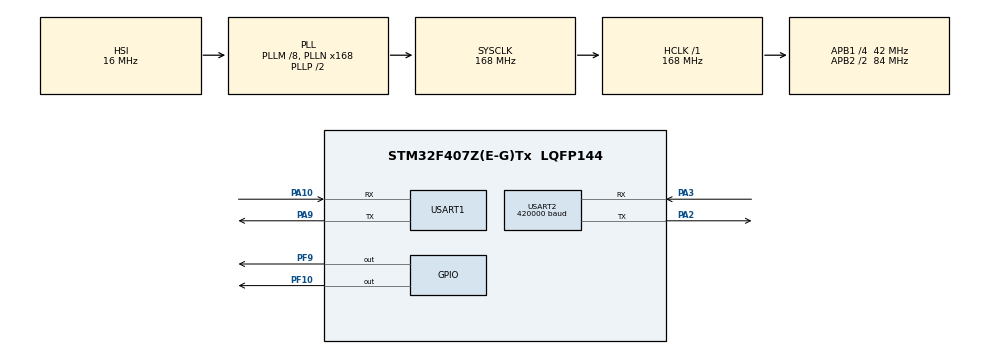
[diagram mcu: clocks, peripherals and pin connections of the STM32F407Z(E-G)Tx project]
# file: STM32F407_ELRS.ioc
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Dma.Request0=USART1_RX
Dma.Request1=USART1_TX
Dma.Request2=USART2_RX
Dma.Request3=USART2_TX
Dma.USART1_RX.0.Direction=DMA_PERIPH_TO_MEMORY
Dma.USART1_RX.0.FIFOMode=DMA_FIFOMODE_DISABLE
Dma.USART1_RX.0.Instance=DMA2_Stream2
Dma.USART1_RX.0.MemDataAlignment=DMA_MDATAALIGN_BYTE
Dma.USART1_RX.0.MemInc=DMA_MINC_ENABLE
Dma.USART1_RX.0.Mode=DMA_NORMAL
Dma.USART1_RX.0.PeriphDataAlignment=DMA_PDATAALIGN_BYTE
Dma.USART1_RX.0.PeriphInc=DMA_PINC_DISABLE
Dma.USART1_RX.0.Priority=DMA_PRIORITY_LOW
Dma.USART1_TX.1.Direction=DMA_MEMORY_TO_PERIPH
Dma.USART1_TX.1.FIFOMode=DMA_FIFOMODE_DISABLE
Dma.USART1_TX.1.Instance=DMA2_Stream7
Dma.USART1_TX.1.MemDataAlignment=DMA_MDATAALIGN_BYTE
Dma.USART1_TX.1.MemInc=DMA_MINC_ENABLE
Dma.USART1_TX.1.Mode=DMA_NORMAL
Dma.USART1_TX.1.PeriphDataAlignment=DMA_PDATAALIGN_BYTE
Dma.USART1_TX.1.PeriphInc=DMA_PINC_DISABLE
Dma.USART1_TX.1.Priority=DMA_PRIORITY_LOW
Dma.USART2_RX.2.Direction=DMA_PERIPH_TO_MEMORY
Dma.USART2_RX.2.FIFOMode=DMA_FIFOMODE_DISABLE
Dma.USART2_RX.2.Instance=DMA1_Stream5
Dma.USART2_RX.2.MemDataAlignment=DMA_MDATAALIGN_BYTE
Dma.USART2_RX.2.MemInc=DMA_MINC_ENABLE
Dma.USART2_RX.2.Mode=DMA_NORMAL
Dma.USART2_RX.2.PeriphDataAlignment=DMA_PDATAALIGN_BYTE
Dma.USART2_RX.2.PeriphInc=DMA_PINC_DISABLE
Dma.USART2_RX.2.Priority=DMA_PRIORITY_LOW
Dma.USART2_TX.3.Direction=DMA_MEMORY_TO_PERIPH
Dma.USART2_TX.3.FIFOMode=DMA_FIFOMODE_DISABLE
Dma.USART2_TX.3.Instance=DMA1_Stream6
Dma.USART2_TX.3.MemDataAlignment=DMA_MDATAALIGN_BYTE
Dma.USART2_TX.3.MemInc=DMA_MINC_ENABLE
Dma.USART2_TX.3.Mode=DMA_NORMAL
Dma.USART2_TX.3.PeriphDataAlignment=DMA_PDATAALIGN_BYTE
Dma.USART2_TX.3.PeriphInc=DMA_PINC_DISABLE
Dma.USART2_TX.3.Priority=DMA_PRIORITY_LOW
Mcu.Family=STM32F4
Mcu.Name=STM32F407Z(E-G)Tx
Mcu.Package=LQFP144
NVIC.DMA1_Stream5_IRQn=true\:0\:0\:false\:false\:true\:false\:true\:true
NVIC.DMA1_Stream6_IRQn=true\:0\:0\:false\:false\:true\:false\:true\:true
NVIC.DMA2_Stream2_IRQn=true\:0\:0\:false\:false\:true\:false\:true\:true
NVIC.DMA2_Stream7_IRQn=true\:0\:0\:false\:false\:true\:false\:true\:true
NVIC.PriorityGroup=NVIC_PRIORITYGROUP_4
NVIC.USART1_IRQn=true\:0\:0\:false\:false\:true\:true\:true\:true
NVIC.USART2_IRQn=true\:0\:0\:false\:false\:true\:false\:true\:true
PA10.Mode=Asynchronous
PA10.Signal=USART1_RX
PA13.Mode=Serial_Wire
PA13.Signal=SYS_JTMS-SWDIO
PA14.Mode=Serial_Wire
PA14.Signal=SYS_JTCK-SWCLK
PA2.Mode=Asynchronous
PA2.Signal=USART2_TX
PA3.Mode=Asynchronous
PA3.Signal=USART2_RX
PA9.Mode=Asynchronous
PA9.Signal=USART1_TX
PF10.Signal=GPIO_Output
PF9.Signal=GPIO_Output
PH0-OSC_IN.Mode=HSE-External-Oscillator
PH0-OSC_IN.Signal=RCC_OSC_IN
PH1-OSC_OUT.Mode=HSE-External-Oscillator
PH1-OSC_OUT.Signal=RCC_OSC_OUT
ProjectManager.HeapSize=0x200
ProjectManager.StackSize=0x400
ProjectManager.TargetToolchain=MDK-ARM V5.32
RCC.48MHZClocksFreq_Value=84000000
RCC.AHBFreq_Value=168000000
RCC.APB1CLKDivider=RCC_HCLK_DIV4
RCC.APB1Freq_Value=42000000
RCC.APB1TimFreq_Value=84000000
RCC.APB2CLKDivider=RCC_HCLK_DIV2
RCC.APB2Freq_Value=84000000
RCC.APB2TimFreq_Value=168000000
RCC.CortexFreq_Value=168000000
RCC.HCLKFreq_Value=168000000
RCC.HSE_VALUE=25000000
RCC.HSI_VALUE=16000000
RCC.PLLM=8
RCC.PLLN=168
RCC.SYSCLKFreq_VALUE=168000000
RCC.SYSCLKSource=RCC_SYSCLKSOURCE_PLLCLK
RCC.VCOOutputFreq_Value=336000000
USART1.VirtualMode=VM_ASYNC
USART2.BaudRate=420000
USART2.VirtualMode=VM_ASYNC
board=custom

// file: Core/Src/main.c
/* USER CODE BEGIN Header */
/**
 ******************************************************************************
 * @file           : main.c
 * @brief          : Main program body
 ******************************************************************************
 * @attention
 *
 * Copyright (c) 2024 STMicroelectronics.
 * All rights reserved.
 *
 * This software is licensed under terms that can be found in the LICENSE file
 * in the root directory of this software component.
 * If no LICENSE file comes with this software, it is provided AS-IS.
 *
 ******************************************************************************
 */
/* USER CODE END Header */
#include "main.h"
#include "dma.h"
#include "usart.h"
#include "gpio.h"

/* USER CODE BEGIN Includes */
#include "elrs.h"
/* USER CODE END Includes */

/* USER CODE BEGIN PM */
// 硬件串口重定向函�?
int fputc(int ch, FILE *f)
{
  HAL_UART_Transmit(&huart1, (uint8_t *)&ch, 1, HAL_MAX_DELAY);
  // HAL_UART_Transmit_DMA(&huart1, (uint8_t *)&ch, 1);
  return ch;
}

uint8_t Rx_data[200] = {0};
char received_string[256];
extern DMA_HandleTypeDef hdma_usart1_rx;
void HAL_UARTEx_RxEventCallback(UART_HandleTypeDef *huart, uint16_t Size)
{
  if (huart == &huart1)
  {
    strcpy(received_string, (char *)Rx_data);
    fprintf(stdout, "%s\r\n", received_string);
    memset(Rx_data, 0, sizeof(Rx_data));
    HAL_UARTEx_ReceiveToIdle_DMA(huart, Rx_data, sizeof(Rx_data) - 1);
    __HAL_DMA_DISABLE_IT(&hdma_usart1_rx, DMA_IT_HT);
  }
  else if (huart == &huart2)
  {
    ELRS_UARTE_RxCallback(Size);
    // HAL_GPIO_TogglePin(GPIOF, GPIO_PIN_10);
  }
}
/* USER CODE END PM */

/* USER CODE BEGIN PV */
extern ELRS_Data elrs_data;

/* USER CODE END PV */

void SystemClock_Config(void);

int main(void)
{

  /* MCU Configuration--------------------------------------------------------*/

  /* Reset of all peripherals, Initializes the Flash interface and the Systick. */
  HAL_Init();

  /* Configure the system clock */
  SystemClock_Config();

  /* Initialize all configured peripherals */
  MX_GPIO_Init();
  MX_DMA_Init();
  MX_USART1_UART_Init();
  MX_USART2_UART_Init();
  /* USER CODE BEGIN 2 */
  HAL_UARTEx_ReceiveToIdle_DMA(&huart1, Rx_data, 200 - 1);
  __HAL_DMA_DISABLE_IT(&hdma_usart1_rx, DMA_IT_HT);
  ELRS_Init();
  /* USER CODE END 2 */

  /* Infinite loop */
  while (1)
  {

    /* USER CODE BEGIN 3 */
    printf("L_X=%.2f,L_Y=%.2f,R_X=%.2f,R_Y=%.2f,A=%d,B=%d,C=%d,D=%d,E=%d,F=%d,\r\n", elrs_data.Left_X, elrs_data.Left_Y, elrs_data.Right_X, elrs_data.Right_Y, elrs_data.A, elrs_data.B, elrs_data.C, elrs_data.D, elrs_data.E, elrs_data.F);
    // printf("hello world\r\n");
    HAL_GPIO_TogglePin(GPIOF, GPIO_PIN_9);
    HAL_Delay(10);
  }
  /* USER CODE END 3 */
}

void SystemClock_Config(void)
{
  RCC_OscInitTypeDef RCC_OscInitStruct = {0};
  RCC_ClkInitTypeDef RCC_ClkInitStruct = {0};

  /** Configure the main internal regulator output voltage
   */
  __HAL_RCC_PWR_CLK_ENABLE();
  __HAL_PWR_VOLTAGESCALING_CONFIG(PWR_REGULATOR_VOLTAGE_SCALE1);

  /** Initializes the RCC Oscillators according to the specified parameters
   * in the RCC_OscInitTypeDef structure.
   */
  RCC_OscInitStruct.OscillatorType = RCC_OSCILLATORTYPE_HSI;
  RCC_OscInitStruct.HSIState = RCC_HSI_ON;
  RCC_OscInitStruct.HSICalibrationValue = RCC_HSICALIBRATION_DEFAULT;
  RCC_OscInitStruct.PLL.PLLState = RCC_PLL_ON;
  RCC_OscInitStruct.PLL.PLLSource = RCC_PLLSOURCE_HSI;
  RCC_OscInitStruct.PLL.PLLM = 8;
  RCC_OscInitStruct.PLL.PLLN = 168;
  RCC_OscInitStruct.PLL.PLLP = RCC_PLLP_DIV2;
  RCC_OscInitStruct.PLL.PLLQ = 4;
  if (HAL_RCC_OscConfig(&RCC_OscInitStruct) != HAL_OK)
  {
    Error_Handler();
  }

  /** Initializes the CPU, AHB and APB buses clocks
   */
  RCC_ClkInitStruct.ClockType = RCC_CLOCKTYPE_HCLK | RCC_CLOCKTYPE_SYSCLK | RCC_CLOCKTYPE_PCLK1 | RCC_CLOCKTYPE_PCLK2;
  RCC_ClkInitStruct.SYSCLKSource = RCC_SYSCLKSOURCE_PLLCLK;
  RCC_ClkInitStruct.AHBCLKDivider = RCC_SYSCLK_DIV1;
  RCC_ClkInitStruct.APB1CLKDivider = RCC_HCLK_DIV4;
  RCC_ClkInitStruct.APB2CLKDivider = RCC_HCLK_DIV2;

  if (HAL_RCC_ClockConfig(&RCC_ClkInitStruct, FLASH_LATENCY_5) != HAL_OK)
  {
    Error_Handler();
  }
}

void Error_Handler(void)
{
  __disable_irq();
  while (1)
  {
  }
}
